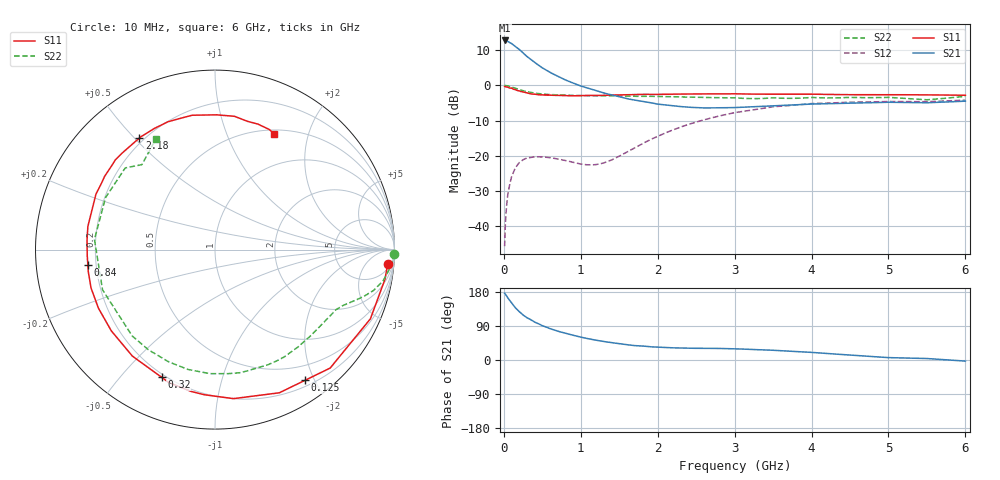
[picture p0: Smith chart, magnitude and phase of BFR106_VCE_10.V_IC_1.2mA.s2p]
! Infineon Technologies  Discrete & RF Semiconductors
! BFR106
! VCE =  10. V,  IC =  1.2 mA
! Common Emitter S-Parameters:  Nov 2015
# GHz  S  MA  R  50
!  f  S11  S21  S12  S22
! GHz  MAG  ANG  MAG  ANG  MAG  ANG  MAG  ANG
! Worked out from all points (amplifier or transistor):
!   210 points, 10 MHz to 6 GHz, reference 50 ohm
!   highest |S21| = 12.8 dB at 10 MHz (marker M1)
!   |S21| within 3 dB of that: start of sweep to 222.3 MHz
!   unconditionally stable (mu >= 1): 845.6 MHz to 1.802 GHz; 3.307 GHz to 3.46 GHz; 3.512 GHz to end of sweep
!   at 185 MHz: K = 0.21, MSG = 16.4 dB, |S12| = -22.4 dB
!   at 1.52 GHz: K = 1.23, MAG = 5.4 dB, |S12| = -19.9 dB
!   at 6 GHz: K = 1.02, MAG = -1.0 dB, |S12| = -4.2 dB
!   S11 on the Smith chart (normalised r, x): 10 MHz: 9, -21; 125 MHz: 0.28, -1.87; 320 MHz: 0.19, -0.65; 840 MHz: 0.17, -0.06; 2.18 GHz: 0.18, +0.52; 6 GHz: 0.55, +1.49
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0.01  0.9655 -4.7  4.348 176.3  0.0052 87.8  0.9989 -1.3
0.025  0.9553 -12.1  4.305 172.3  0.0134 83.7  0.9935 -2.8
0.05  0.9478 -24.0  4.227 164.1  0.0273 76.4  0.9836 -5.6
0.1  0.9205 -45.8  3.95 150.9  0.0501 65.1  0.9521 -10.6
0.125  0.8839 -55.5  3.741 144.5  0.0585 58.9  0.9312 -12.5
0.15  0.8746 -65.8  3.583 137.5  0.0675 54.3  0.9113 -14.5
0.2  0.8367 -82.9  3.244 127.7  0.0798 46.7  0.8741 -17.1
0.26  0.8016 -99.5  2.827 117.2  0.089 38.8  0.8343 -19.7
0.32  0.7711 -112.7  2.479 109.6  0.0936 33.7  0.8062 -21.5
0.4  0.7509 -127.8  2.123 100.1  0.0968 28.0  0.7758 -23.8
0.5  0.7339 -141.9  1.775 90.5  0.0966 23.9  0.7529 -26.4
0.7  0.7229 -162.8  1.345 76.0  0.0901 21.4  0.7329 -32.4
0.84  0.7137 -173.0  1.147 68.4  0.0838 24.1  0.7231 -36.7
1.02  0.7153 174.6  0.966 59.5  0.0758 33.3  0.7164 -42.8
1.4  0.7317 155.0  0.731 45.7  0.0871 64.6  0.7116 -57.1
2.02  0.7457 129.8  0.539 33.5  0.1933 78.9  0.695 -83.9
2.18  0.7509 124.2  0.514 32.3  0.2289 77.4  0.6912 -91.4
3.1  0.7557 97.6  0.489 28.9  0.4252 55.8  0.6551 -139.0
3.5  0.7509 89.3  0.512 25.7  0.497 45.4  0.6655 -160.3
4.1  0.7472 80.5  0.546 18.6  0.5554 30.2  0.6672 171.1
5.1  0.7376 70.1  0.574 5.8  0.5892 11.3  0.6651 136.4
6  0.7243 62.9  0.597 -2.9  0.618 -0.5  0.6989 118.1
